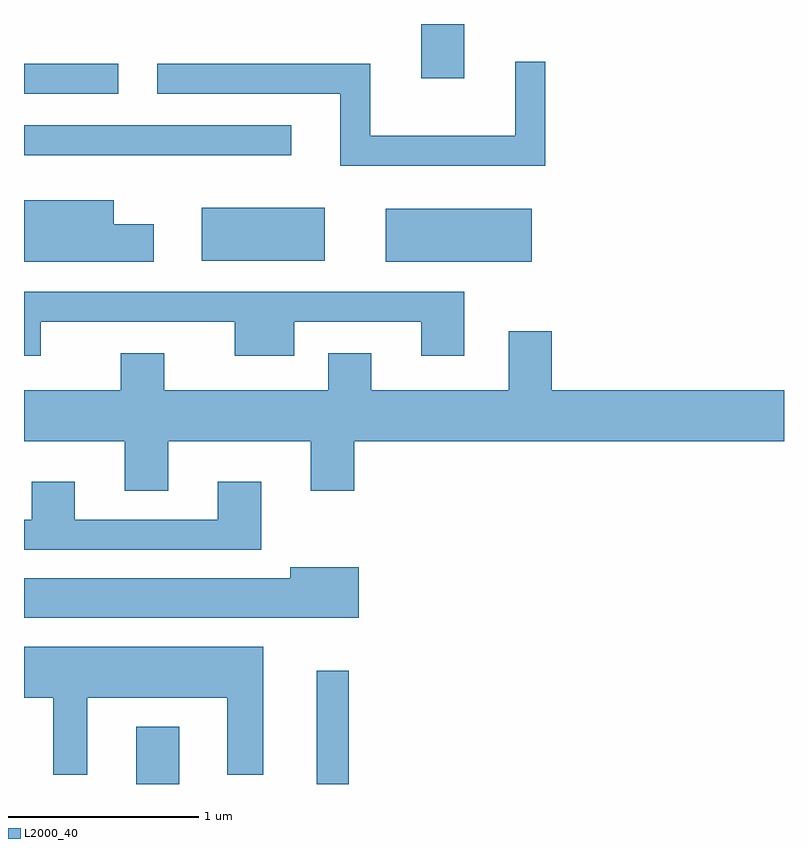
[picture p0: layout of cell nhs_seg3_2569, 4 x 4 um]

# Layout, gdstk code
import gdstk
lib = gdstk.Library(unit=1e-6, precision=1e-09)
def R(c, l, rs):  # rectangles x0, y0, x1, y1
    for r in rs: c.add(gdstk.rectangle(r[:2], r[2:], *l))
def P(c, l, *ps):  # polygons
    for p in ps: c.add(gdstk.Polygon(p, *l))
L2000_40 = (2000, 40)

nhs_seg3_2569 = lib.new_cell('nhs_seg3_2569')
R(nhs_seg3_2569, L2000_40, [(260.201,1221.892,260.429,1222.194), (261.151,1221.892,261.319,1222.488), (261.516,1224.641,262.284,1224.919), (260.546,1224.646,261.194,1224.924), (259.611,1225.201,261.017,1225.359), (259.611,1225.526,260.108,1225.684), (261.701,1225.606,261.929,1225.892)])
P(nhs_seg3_2569, L2000_40, [(262.354,1225.693),(262.196,1225.693),(262.196,1225.304),(261.434,1225.304),(261.434,1225.684),(260.313,1225.684),(260.313,1225.526),(261.276,1225.526),(261.276,1225.146),(262.354,1225.146)],
  [(260.294,1224.839),(260.084,1224.839),(260.084,1224.964),(259.611,1224.964),(259.611,1224.641),(260.294,1224.641)],
  [(259.699,1224.326),(260.721,1224.326),(260.721,1224.146),(261.034,1224.146),(261.034,1224.326),(261.701,1224.326),(261.701,1224.146),(261.929,1224.146),(261.929,1224.484),(259.611,1224.484),(259.611,1224.146),(259.699,1224.146)],
  [(260.369,1223.696),(261.121,1223.696),(261.121,1223.436),(261.349,1223.436),(261.349,1223.696),(263.611,1223.696),(263.611,1223.964),(262.389,1223.964),(262.389,1224.274),(262.161,1224.274),(262.161,1223.964),(261.439,1223.964),(261.439,1224.159),(261.211,1224.159),(261.211,1223.964),(260.349,1223.964),(260.349,1224.159),(260.121,1224.159),(260.121,1223.964),(259.611,1223.964),(259.611,1223.696),(260.141,1223.696),(260.141,1223.436),(260.369,1223.436)],
  [(260.859,1223.484),(260.631,1223.484),(260.631,1223.284),(259.879,1223.284),(259.879,1223.484),(259.651,1223.484),(259.651,1223.284),(259.611,1223.284),(259.611,1223.126),(260.859,1223.126)],
  [(261.374,1223.034),(261.011,1223.034),(261.011,1222.974),(259.611,1222.974),(259.611,1222.766),(261.374,1222.766)],
  [(259.944,1222.346),(260.681,1222.346),(260.681,1221.941),(260.869,1221.941),(260.869,1222.614),(259.611,1222.614),(259.611,1222.346),(259.766,1222.346),(259.766,1221.941),(259.944,1221.941)])

lib.write_gds('nhs_seg3_2569.gds')
